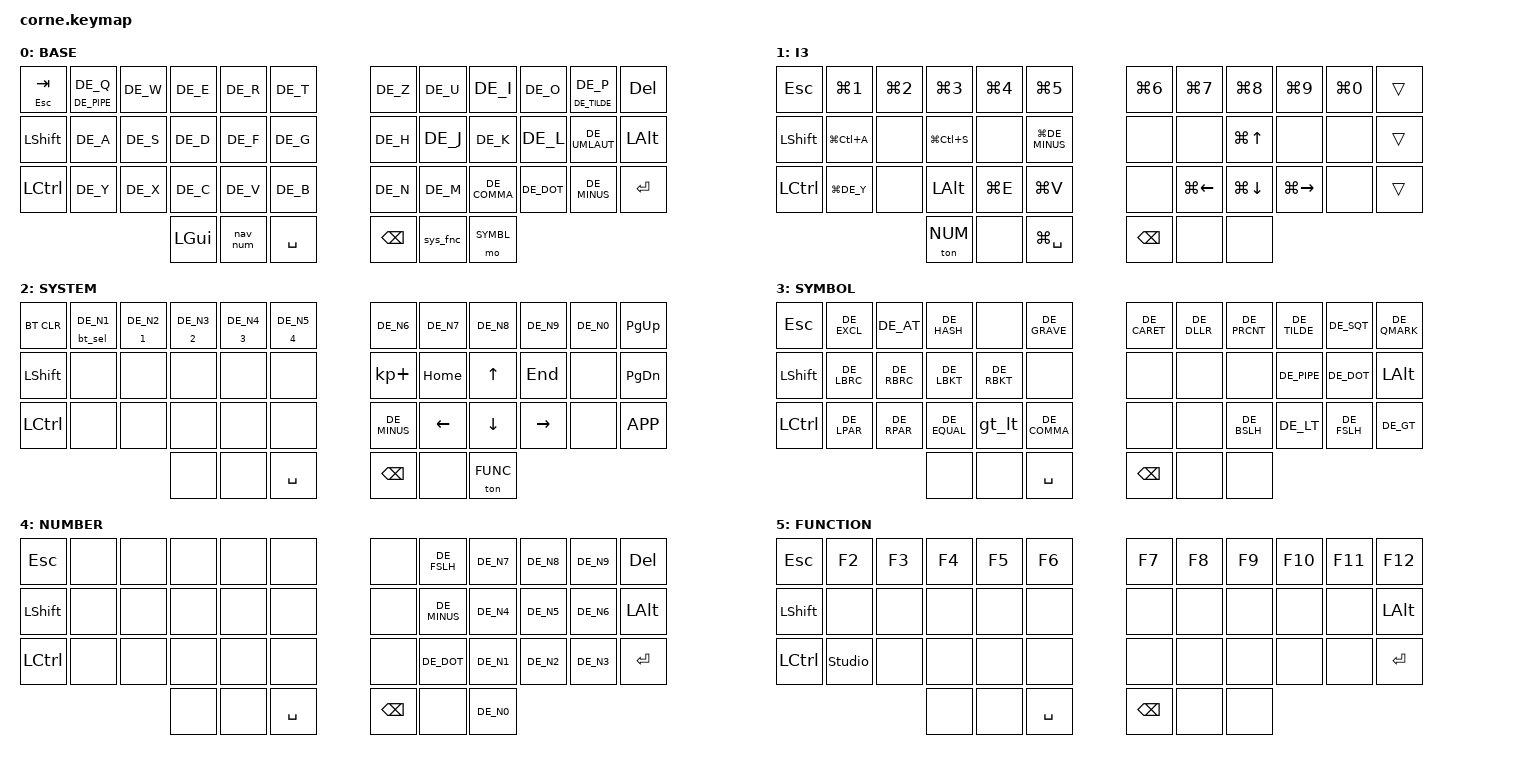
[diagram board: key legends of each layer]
/*
 * Copyright (c) 2020 The ZMK Contributors
 *
 * SPDX-License-Identifier: MIT
 */

#include <behaviors.dtsi>
#include <dt-bindings/zmk/keys.h>
#include <dt-bindings/zmk/bt.h>
#include <dt-bindings/zmk/modifiers.h>
#include "ch-de.h"


#define BASE           0
#define I3             1
#define SYS            2
#define SYMBL          3
#define NUM            4
#define FUNC           5


/* Key position groups used by hold-trigger-key-positions
 * in the BT hold-taps (n1_btclr, ht_bt) and ht behavior.
 * LEFT_HAND_KEYS is kept for symmetry / future use. */
#define LEFT_HAND_KEYS \
        0 1 2 3 4 5 12 13 14 15 16 17 24 25 26 27 28 29
#define RIGHT_HAND_KEYS \
        6 7 8 9 10 11 18 19 20 21 22 23 30 31 32 33 34 35
#define THUMB_KEYS \
        36 37 38 39 40 41

/ {
 
        macros {
                /* ── sys_fnc ───────────────────────────────────────────────
                 *  Hold → activate SYS (system) layer
                 *  Release → turn off FUNC layer if it was toggled on
                 *  Activation: right thumb middle key (BASE layer, pos 40)
                 * ─────────────────────────────────────────────────────────── */
                sys_fnc: mod_tap_function_layer {
                        compatible = "zmk,behavior-macro";
                        #binding-cells = <0>;
                        wait-ms = <0>;
                        tap-ms = <0>;
                        bindings = <&macro_press &mo SYS>, <&macro_pause_for_release>, <&macro_tap &toff FUNC>, <&macro_release &mo SYS>;
                };

                /* ── nav_num ───────────────────────────────────────────────
                 *  Hold → activate I3 (navigation) layer and LGUI
                 *  Release → turn off NUM layer if it was toggled on
                 *  Activation: left thumb middle key (BASE layer, pos 37)
                 * ─────────────────────────────────────────────────────────── */
                nav_num: mod_tap_number_layer {
                        compatible = "zmk,behavior-macro";
                        #binding-cells = <0>;
                        wait-ms = <0>;
                        tap-ms = <0>;
                        bindings = <&macro_press &mo I3 &kp LGUI>, <&macro_pause_for_release>, <&macro_tap &toff NUM>, <&macro_release &kp LGUI &mo I3>;
                };

                /* ── arrow_fn ──────────────────────────────────────────────
                 *  Types: = () => { \n  (JS/TS arrow function skeleton)
                 *  Editor auto-indent places cursor inside the braces
                 *  Activation: press ( and ) simultaneously on SYMBL layer
                 *              (combo on positions 25+26, 50ms window)
                 * ─────────────────────────────────────────────────────────── */
                arrow_fn: arrow_function {
                        compatible = "zmk,behavior-macro";
                        #binding-cells = <0>;
                        wait-ms = <30>;
                        tap-ms = <30>;
                        bindings = <&kp DE_EQUAL &kp SPACE
                                    &kp DE_LPAR &kp DE_RPAR &kp SPACE
                                    &kp DE_EQUAL &kp DE_GT &kp SPACE
                                    &kp DE_LBRC &kp SPACE &kp RET>;
                };

                /* ── kp_once ───────────────────────────────────────────────
                 *  Parameterised helper: taps a single keycode passed as
                 *  its argument. Used as the hold binding in the &ht
                 *  hold-tap behavior so that hold produces a keypress
                 *  rather than a modifier.
                 * ─────────────────────────────────────────────────────────── */
                kp_once: key_press_once {
                        compatible = "zmk,behavior-macro-one-param";
                        #binding-cells = <1>;
                        wait-ms = <0>;
                        tap-ms = <0>;
                        bindings = <&macro_param_1to1 &kp MACRO_PLACEHOLDER>;
                };
        };
        behaviors {
                /* ── gt_lt ────────────────────────────────────────────────
                 *  Tap        → >
                 *  Shift+Tap  → <
                 * ─────────────────────────────────────────────────────────── */
                gt_lt: greater_less {
                        compatible = "zmk,behavior-mod-morph";
                        #binding-cells = <0>;
                        bindings = <&kp DE_GT>, <&kp DE_LT>;
                        mods = <(MOD_LSFT|MOD_RSFT)>;
                };

                /* Layer Toggler */
                ton: toggle_layer_on{
                        compatible = "zmk,behavior-toggle-layer";
                        #binding-cells = <1>;
                        toggle-mode = "on";
                };
                toff: toggle_layer_off {
                        compatible = "zmk,behavior-toggle-layer";
                        #binding-cells = <1>;
                        toggle-mode = "off";
                };


                /* ── bt_clr_macro / n1_btclr ───────────────────────────────
                 *  bt_clr_macro: helper that sends BT_CLR
                 *  n1_btclr: hold-tap wrapping bt_clr_macro
                 *    Tap  → keypress (e.g. TAB)
                 *    Hold → clear current BT profile
                 *  Activation: SYS layer, top-left key (pos 0)
                 * ─────────────────────────────────────────────────────────── */
                bt_clr_macro: bt_clr_macro {
                        compatible = "zmk,behavior-macro";
                        #binding-cells = <0>;
                        bindings = <&bt BT_CLR>;
                };
                n1_btclr: n1_btclr {
                        compatible = "zmk,behavior-hold-tap";
                        #binding-cells = <2>;
                        flavor = "balanced";
                        tapping-term-ms = <280>;
                        quick-tap-ms = <175>;
                        require-prior-idle-ms = <150>;
                        bindings = <&bt_clr_macro>, <&kp>;
                        hold-trigger-key-positions = <RIGHT_HAND_KEYS THUMB_KEYS>;
                        hold-trigger-on-release;
                };

                /* ── bt_sel / ht_bt ────────────────────────────────────────
                 *  bt_sel: one-param macro that selects a BT profile
                 *  ht_bt: hold-tap wrapping bt_sel
                 *    Tap  → keypress (e.g. DE_N1 through DE_N5)
                 *    Hold → select the BT profile passed as 1st param
                 *  Activation: SYS layer, top row keys 1-5 (pos 1-5)
                 * ─────────────────────────────────────────────────────────── */
                bt_sel: bt_select {
                        compatible = "zmk,behavior-macro-one-param";
                        #binding-cells = <1>;
                        bindings = <&macro_param_1to2 &bt BT_SEL MACRO_PLACEHOLDER>;
                };
                ht_bt: hold_tap_bt {
                        compatible = "zmk,behavior-hold-tap";
                        #binding-cells = <2>;
                        flavor = "balanced";
                        tapping-term-ms = <280>;
                        quick-tap-ms = <175>;
                        require-prior-idle-ms = <150>;
                        bindings = <&bt_sel>, <&kp>;
                        hold-trigger-key-positions = <RIGHT_HAND_KEYS THUMB_KEYS>;
                        hold-trigger-on-release;
                };
                ht: hold_tap {
                        compatible = "zmk,behavior-hold-tap";
                        #binding-cells = <2>;
                        flavor = "balanced";
                        tapping-term-ms = <280>;
                        quick-tap-ms = <175>;
                        require-prior-idle-ms = <150>;
                        bindings = <&kp_once>, <&kp>;
                        hold-trigger-key-positions = <RIGHT_HAND_KEYS THUMB_KEYS>;
                        hold-trigger-on-release;
                };
        };


        combos {
                compatible = "zmk,combos";
                /* Press ( + ) at the same time on SYMBL layer → arrow_fn macro */
                combo_arrow_fn {
                        timeout-ms = <50>;
                        key-positions = <25 26>;
                        bindings = <&arrow_fn>;
                        layers = <SYMBL>;
                };
        };

        keymap {
                compatible = "zmk,keymap";

                base_layer {
                        display-name = "BASE";
                                                                                                                               // XXX //                                       
                        bindings = <                 
        &ht ESC TAB          &ht DE_PIPE DE_Q   &kp DE_W         &kp DE_E               &kp DE_R          &kp DE_T                            &kp DE_Z         &kp DE_U              &kp DE_I               &kp DE_O          &ht DE_TILDE DE_P   &kp DEL
        &kp LSHFT            &kp DE_A           &kp DE_S         &kp DE_D               &kp DE_F          &kp DE_G                            &kp DE_H         &kp DE_J              &kp DE_K               &kp DE_L          &kp DE_UMLAUT       &kp LALT
        &kp LCTRL            &kp DE_Y           &kp DE_X         &kp DE_C               &kp DE_V          &kp DE_B                            &kp DE_N         &kp DE_M              &kp DE_COMMA           &kp DE_DOT        &kp DE_MINUS        &kp RET
                                                                 &kp LGUI               &nav_num          &kp SPACE                           &kp BACKSPACE    &sys_fnc              &mo SYMBL
                        >;                 
                };                 
                 
                i3_layer {                 
                        display-name = "I3";                 
                        bindings = <                 
        &kp ESC              &kp LG(N1)         &kp LG(N2)       &kp LG(N3)             &kp LG(N4)        &kp LG(N5)                          &kp LG(N6)       &kp LG(N7)            &kp LG(N8)             &kp LG(N9)        &kp LG(N0)          &trans
        &kp LSHFT            &kp LG(LC(A))      &none            &kp LG(LC(S))          &none             &kp LG(DE_MINUS)                    &none            &none                 &kp LG(UP)             &none             &none               &trans
        &kp LCTRL            &kp LG(DE_Y)       &none            &kp LALT               &kp LG(E)         &kp LG(V)                           &none            &kp LG(LEFT)          &kp LG(DOWN)           &kp LG(RIGHT)     &none               &trans
                                                                 &ton NUM               &none             &kp LG(SPACE)                       &kp BACKSPACE    &none                 &none
                        >;                 
                };                 
                 
                 
                system_layer {
                        display-name = "SYSTEM";
                        bindings = <
        &bt BT_CLR           &ht_bt 0 DE_N1     &ht_bt 1 DE_N2   &ht_bt 2 DE_N3         &ht_bt 3 DE_N4    &ht_bt 4 DE_N5                      &kp DE_N6        &kp DE_N7             &kp DE_N8              &kp DE_N9         &kp DE_N0           &kp PG_UP                
        &kp LSHFT            &none              &none            &none                  &none             &none                               &kp KP_PLUS      &kp HOME              &kp UP                 &kp END           &none               &kp PG_DN
        &kp LCTRL            &none              &none            &none                  &none             &none                               &kp DE_MINUS     &kp LEFT              &kp DOWN               &kp RIGHT         &none               &kp K_APP
                                                                 &none                  &none             &kp SPACE                           &kp BACKSPACE    &none                 &ton FUNC
                        >;
                };

                symbol_layer {                 
                        display-name = "SYMBOL";                   
                        bindings = <                 
        &kp ESC              &kp DE_EXCL        &kp DE_AT        &kp DE_HASH            &none             &kp DE_GRAVE                       &kp DE_CARET       &kp DE_DLLR          &kp DE_PRCNT           &kp DE_TILDE      &kp DE_SQT          &kp DE_QMARK
        &kp LSHFT            &kp DE_LBRC        &kp DE_RBRC      &kp DE_LBKT            &kp DE_RBKT       &none                              &none              &none                &none                  &kp DE_PIPE       &kp DE_DOT          &kp LALT
        &kp LCTRL            &kp DE_LPAR        &kp DE_RPAR      &kp DE_EQUAL           &gt_lt            &kp DE_COMMA                       &none              &none                &kp DE_BSLH            &kp DE_LT         &kp DE_FSLH         &kp DE_GT
                                                                 &none                  &none             &kp SPACE                          &kp BACKSPACE      &none                &none
                        >;
                };

                number_layer {                 
                        display-name = "NUMBER";                 
                        bindings = <                 
        &kp ESC             &none              &none            &none                   &none             &none                               &none            &kp DE_FSLH           &kp DE_N7              &kp DE_N8         &kp DE_N9           &kp DEL
        &kp LSHFT           &none              &none            &none                   &none             &none                               &none            &kp DE_MINUS          &kp DE_N4              &kp DE_N5         &kp DE_N6           &kp LALT
        &kp LCTRL           &none              &none            &none                   &none             &none                               &none            &kp DE_DOT            &kp DE_N1              &kp DE_N2         &kp DE_N3           &kp RET
                                                                &none                   &none             &kp SPACE                           &kp BACKSPACE    &none                 &kp DE_N0          
                        >;                 
                };                 
                 
                function_layer {                 
                        display-name = "FUNCTION";                 
                        bindings = <                 
        &kp ESC           &kp F2             &kp F3           &kp F4                    &kp F5            &kp F6                              &kp F7           &kp F8                &kp F9                 &kp F10           &kp F11             &kp F12
        &kp LSHFT         &none              &none            &none                     &none             &none                               &none            &none                 &none                  &none             &none               &kp LALT
        &kp LCTRL         &studio_unlock     &none            &none                     &none             &none                               &none            &none                 &none                  &none             &none               &kp RET          
                                                              &none                     &none             &kp SPACE                           &kp BACKSPACE    &none                 &none                  
                                                                                         >;
                };


                
                       };



};
